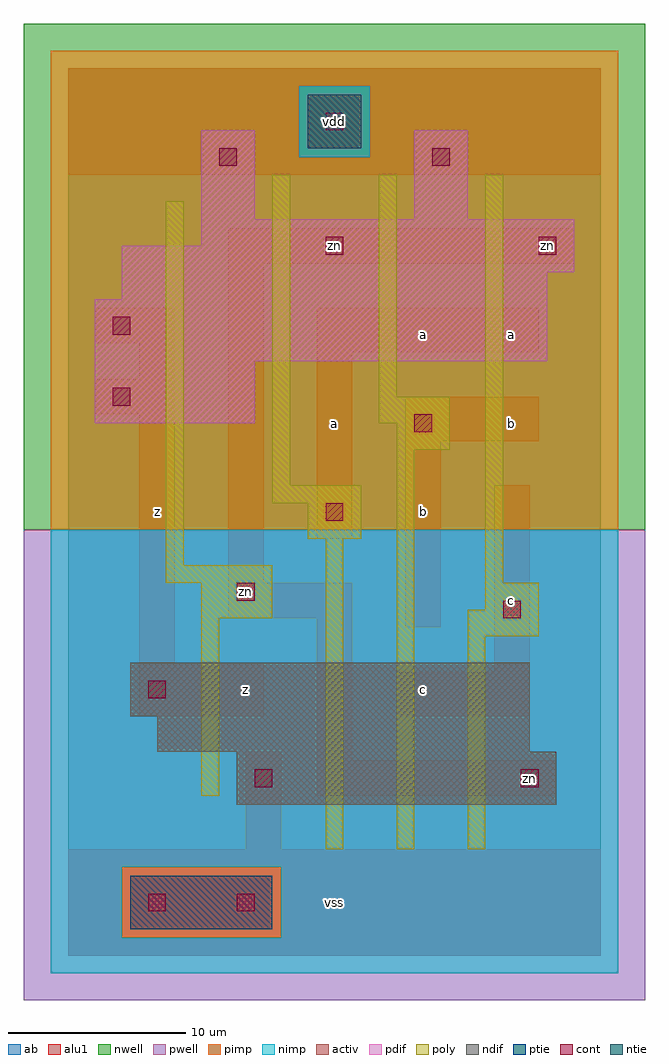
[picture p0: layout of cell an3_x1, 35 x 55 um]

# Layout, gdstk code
import gdstk
lib = gdstk.Library(unit=1e-6, precision=1e-09)
def R(c, l, rs):  # rectangles x0, y0, x1, y1
    for r in rs: c.add(gdstk.rectangle(r[:2], r[2:], *l))
ndif = (3, 0)
pdif = (4, 0)
ntie = (5, 0)
ptie = (6, 0)
cont = (25, 0)
pwell = (41, 0)
nwell = (42, 0)
activ = (43, 0)
pimp = (44, 0)
nimp = (45, 0)
poly = (46, 0)
alu1 = (49, 0)
ab = (63, 0)

an3_x1 = lib.new_cell('an3_x1')
R(an3_x1, ndif, [(9.5,8.5,27.5,11.5), (5,11.5,26,13.5), (3.5,13.5,26,16.5)])
R(an3_x1, pdif, [(1.5,30,10.5,33.5), (1.5,33.5,27,37), (3,37,27,38.5), (3,38.5,28.5,40), (7.5,40,28.5,41.5), (7.5,41.5,10.5,46.5), (19.5,41.5,22.5,46.5)])
R(an3_x1, ntie, [(13.5,45.5,16.5,48.5)])
R(an3_x1, ptie, [(3.5,1.5,11.5,4.5)])
R(an3_x1, cont, [(4.5,2.5,5.5,3.5), (9.5,2.5,10.5,3.5), (10.5,9.5,11.5,10.5), (25.5,9.5,26.5,10.5), (4.5,14.5,5.5,15.5), (24.5,19,25.5,20), (9.5,20,10.5,21), (14.5,24.5,15.5,25.5), (19.5,29.5,20.5,30.5), (2.5,31,3.5,32), (2.5,35,3.5,36), (14.5,39.5,15.5,40.5), (26.5,39.5,27.5,40.5), (8.5,44.5,9.5,45.5), (20.5,44.5,21.5,45.5), (14.5,46.5,15.5,47.5)])
R(an3_x1, pwell, [(-2.5,-2.5,32.5,24)])
R(an3_x1, nwell, [(-2.5,24,32.5,52.5)])
R(an3_x1, activ, [(3.5,1.5,11.5,4.5), (9.5,8.5,27.5,11.5), (5,11.5,26,13.5), (3.5,13.5,26,16.5), (1.5,30,10.5,33.5), (1.5,33.5,27,37), (3,37,27,38.5), (3,38.5,28.5,40), (7.5,40,28.5,41.5), (7.5,41.5,10.5,46.5), (19.5,41.5,22.5,46.5), (13.5,45.5,16.5,48.5)])
R(an3_x1, pimp, [(3,1,12,5), (-1,24,31,45), (-1,45,13,49), (17,45,31,49), (-1,49,31,51)])
R(an3_x1, nimp, [(-1,-1,31,1), (-1,1,3,5), (12,1,31,5), (-1,5,31,24), (13,45,17,49)])
R(an3_x1, poly, [(14.5,6,15.5,23.5), (18.5,6,19.5,28.5), (22.5,6,23.5,18), (7.5,9,8.5,19), (22.5,18,26.5,19.5), (7.5,19,11.5,21), (23.5,19.5,26.5,21), (5.5,21,11.5,22), (23.5,21,24.5,44), (5.5,22,6.5,42.5), (13.5,23.5,16.5,25.5), (11.5,25.5,16.5,26.5), (11.5,26.5,12.5,44), (18.5,28.5,21.5,30), (17.5,30,21.5,31.5), (17.5,31.5,18.5,44)])
R(an3_x1, alu1, [(0,0,30,6), (0,0,30,6), (10,6,12,11.5), (10,6,12,11.5), (14,9,27.5,11), (14,9,27.5,11), (14,11,16,19), (14,11,16,19), (4,13.5,11,16.5), (4,13.5,11,16.5), (18.5,13.5,26,16), (18.5,13.5,26,16), (24,16,26,26.5), (24,16,26,26.5), (4,16.5,6,30.5), (4,16.5,6,30.5), (19,18.5,21,29), (19,18.5,21,29), (9,19,16,21), (9,19,16,21), (9,21,11,39), (9,21,11,39), (14,23.5,16,34), (14,23.5,16,34), (19,29,26.5,31.5), (19,29,26.5,31.5), (1.5,30.5,6,32.5), (1.5,30.5,6,32.5), (4,32.5,6,34.5), (4,32.5,6,34.5), (14,34,26.5,36.5), (14,34,26.5,36.5), (1.5,34.5,6,36.5), (1.5,34.5,6,36.5), (9,39,28.5,41), (9,39,28.5,41), (0,44,30,50), (0,44,30,50)])
R(an3_x1, ab, [(0,0,30,50)])
an3_x1.add(gdstk.Label('zn', (10,20.5), layer=49, texttype=0))
an3_x1.add(gdstk.Label('zn', (15,40), layer=49, texttype=0))
an3_x1.add(gdstk.Label('zn', (26,10), layer=49, texttype=0))
an3_x1.add(gdstk.Label('zn', (27,40), layer=49, texttype=0))
an3_x1.add(gdstk.Label('z', (5,25), layer=49, texttype=0))
an3_x1.add(gdstk.Label('z', (10,15), layer=49, texttype=0))
an3_x1.add(gdstk.Label('vss', (15,3), layer=49, texttype=0))
an3_x1.add(gdstk.Label('c', (20,15), layer=49, texttype=0))
an3_x1.add(gdstk.Label('b', (20,25), layer=49, texttype=0))
an3_x1.add(gdstk.Label('a', (15,30), layer=49, texttype=0))
an3_x1.add(gdstk.Label('a', (20,35), layer=49, texttype=0))
an3_x1.add(gdstk.Label('vdd', (15,47), layer=49, texttype=0))
an3_x1.add(gdstk.Label('c', (25,20), layer=49, texttype=0))
an3_x1.add(gdstk.Label('a', (25,35), layer=49, texttype=0))
an3_x1.add(gdstk.Label('b', (25,30), layer=49, texttype=0))

lib.write_gds('an3_x1.gds')
